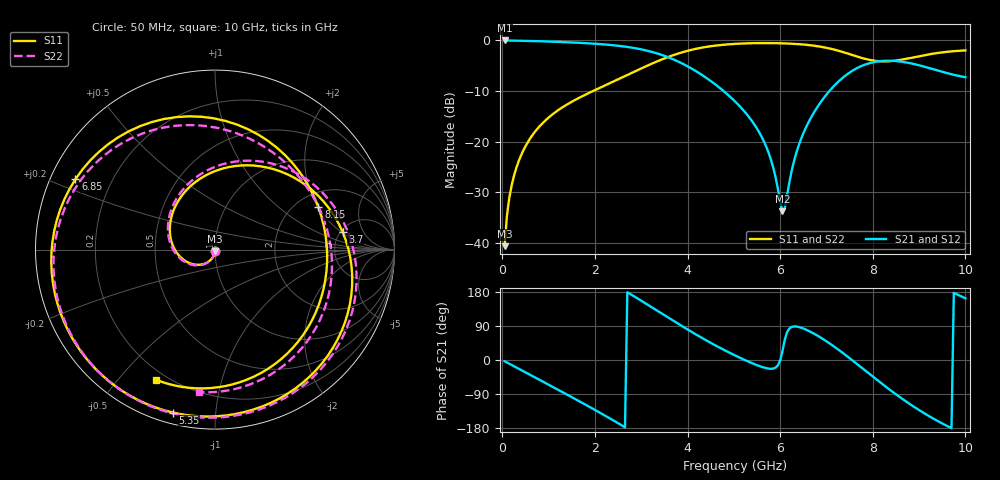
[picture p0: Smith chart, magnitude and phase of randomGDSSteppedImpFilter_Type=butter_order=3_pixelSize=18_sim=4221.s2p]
! freq	dB(S11)	phase(S11)	dB(S12)	phase(S12)
!  dB(S21)	phase(S21)	dB(S22)	phase(S22)
!S-par simulation data
#  GHz  S  DB  R 50
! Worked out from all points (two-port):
!   200 points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, 50 MHz to 10 GHz, reference 50 ohm
!   highest |S21| = -0.01 dB at 50 MHz (marker M1); lowest = -33.7 dB at 6.05 GHz (marker M2)
!   |S21| within 3 dB of the highest: start of sweep to 3.488 GHz
!   lowest |S11| = -40.6 dB at 50 MHz (marker M3), VSWR 1.02, Z = 50 - j0.928 ohm
!   |S11| at or under -10 dB: start of sweep to 1.957 GHz
!   |S22| runs from -40.6 to -0.5 dB; largest |S21 - S12| = 0
!   S11 on the Smith chart (normalised r, x): 50 MHz: 1.00, -0.02; 3.7 GHz: 5.20, +2.11; 5.35 GHz: 0.05, -0.77; 6.85 GHz: 0.07, +0.24; 8.15 GHz: 2.61, +2.00; 10 GHz: 0.16, -0.63
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0.05  -40.63 -92.5  -0.01 -3.3  -0.01 -3.3  -40.63 -92.4
0.2  -28.71 -102.8  -0.03 -13.1  -0.03 -13.1  -28.71 -102.2
0.5  -20.91 -123.6  -0.08 -32.6  -0.08 -32.6  -20.91 -122.2
1.15  -14.14 -167.4  -0.27 -74.9  -0.27 -74.9  -14.14 -164.0
1.75  -10.91 151.7  -0.51 -114.7  -0.51 -114.7  -10.91 157.1
2.6  -7.26 91.3  -1.16 -173.9  -1.16 -173.9  -7.26 98.9
3.4  -3.92 30.8  -2.73 126.1  -2.73 126.1  -3.92 39.3
3.7  -2.88 7.9  -3.77 103.1  -3.77 103.1  -2.88 16.3
4.3  -1.44 -36.3  -6.75 59.0  -6.75 59.0  -1.44 -27.9
5.05  -0.67 -86.0  -12.27 10.6  -12.27 10.6  -0.66 -77.2
5.35  -0.56 -104.5  -15.40 -6.1  -15.40 -6.1  -0.55 -95.4
5.75  -0.52 -129.1  -22.18 -22.7  -22.18 -22.7  -0.50 -119.2
6.05  -0.57 -148.1  -33.71 23.4  -33.71 23.4  -0.55 -137.2
6.35  -0.70 -168.3  -22.17 88.3  -22.17 88.3  -0.67 -156.2
6.7  -1.00 165.6  -14.69 71.6  -14.69 71.6  -0.96 179.8
6.85  -1.20 153.2  -12.52 61.0  -12.52 61.0  -1.15 168.6
7.45  -2.57 95.9  -6.66 9.5  -6.66 9.5  -2.49 117.6
8.15  -4.12 22.2  -4.10 -58.3  -4.10 -58.3  -4.12 49.6
8.35  -4.11 2.8  -4.01 -77.0  -4.01 -77.0  -4.15 29.9
9  -3.12 -51.7  -4.91 -132.2  -4.91 -132.2  -3.16 -29.1
9.5  -2.36 -85.7  -6.19 -167.5  -6.19 -167.5  -2.36 -66.1
10  -1.98 -114.5  -7.26 163.0  -7.26 163.0  -1.95 -96.4
